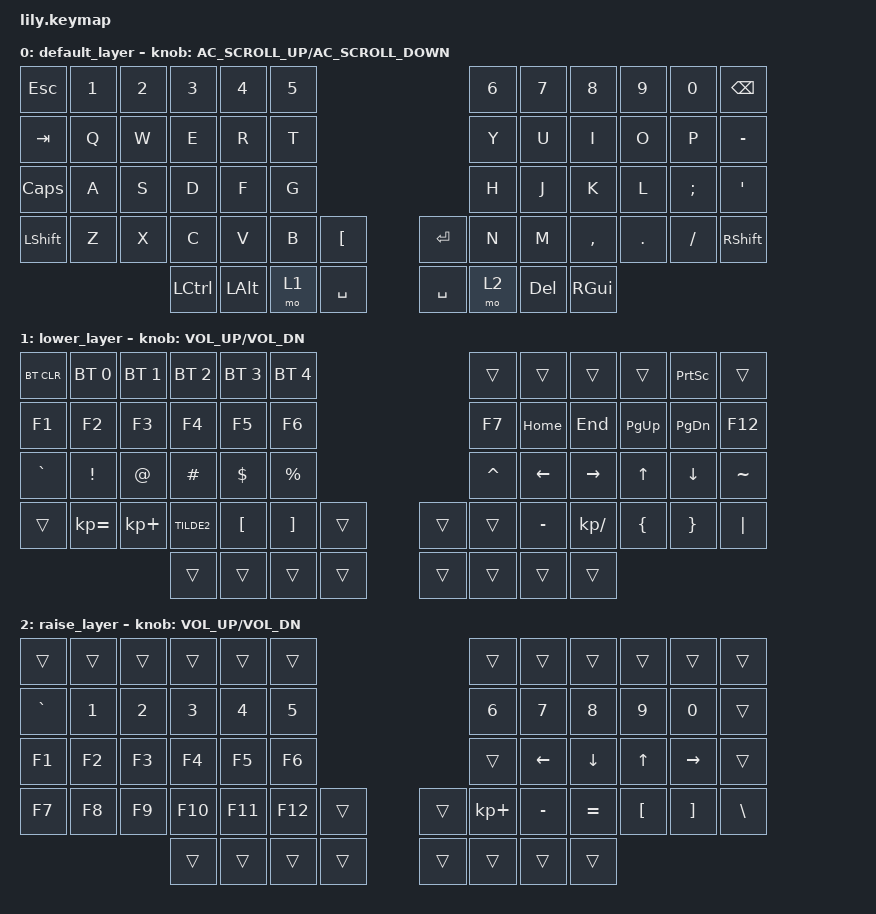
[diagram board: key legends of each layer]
/*
 * Copyright (c) 2020 The ZMK Contributors
 *
 * SPDX-License-Identifier: MIT
 */

#include <behaviors.dtsi>
#include <dt-bindings/zmk/keys.h>
#include <dt-bindings/zmk/bt.h>

/ {
    keymap {
        compatible = "zmk,keymap";

        default_layer {
            // ------------------------------------------------------------------------------------------------------------
            // |  ESC  |  1  |  2  |  3   |  4   |  5   |                   |  6   |  7    |  8    |  9   |   0   |   `   |
            // |  TAB  |  Q  |  W  |  E   |  R   |  T   |                   |  Y   |  U    |  I    |  O   |   P   |   -   |
            // |  CTRL |  A  |  S  |  D   |  F   |  G   |                   |  H   |  J    |  K    |  L   |   ;   |   '   |
            // | SHIFT |  Z  |  X  |  C   |  V   |  B   |   "["  |  |  "]"  |  N   |  M    |  ,    |  .   |   /   | SHIFT |
            //                     | ALT  | GUI  | LOWER|  SPACE |  | ENTER | RAISE| BSPC  | GUI   |

            bindings = <
      &kp ESC  &kp N1  &kp N2            &kp N3        &kp N4  &kp N5                        &kp N6      &kp N7     &kp N8   &kp N9    &kp N0  &kp BACKSPACE
      &kp TAB   &kp Q   &kp W             &kp E         &kp R   &kp T                         &kp Y       &kp U      &kp I    &kp O     &kp P      &kp MINUS
 &kp CAPSLOCK   &kp A   &kp S             &kp D         &kp F   &kp G                         &kp H       &kp J      &kp K    &kp L  &kp SEMI        &kp SQT
    &kp LSHFT   &kp Z   &kp X             &kp C         &kp V   &kp B   &kp LBKT  &kp ENTER   &kp N       &kp M  &kp COMMA  &kp DOT  &kp FSLH      &kp RSHFT
                               &kp LEFT_CONTROL  &kp LEFT_ALT   &mo 1  &kp SPACE  &kp SPACE   &mo 2  &kp DELETE   &kp RGUI
            >;

            sensor-bindings = <&inc_dec_kp C_AC_SCROLL_UP C_AC_SCROLL_DOWN>;
        };

        lower_layer {
            // ------------------------------------------------------------------------------------------------------------
            // | BTCLR | BT1 | BT2 |  BT3 |  BT4 |  BT5 |                   |      |       |       |      |       |       |
            // |  F1   |  F2 |  F3 |  F4  |  F5  |  F6  |                   |  F7  |  F8   |  F9   |  F10 |  F11  |  F12  |
            // |   `   |  !  |  @  |  #   |  $   |  %   |                   |  ^   |  &    |  *    |  (   |   )   |   ~   |
            // |       |     |     |      |      |      |        |  |       |      |  _    |  +    |  {   |   }   |  "|"  |
            //                     |      |      |      |        |  |       |      |       |       |

            bindings = <
 &bt BT_CLR  &bt BT_SEL 0  &bt BT_SEL 1  &bt BT_SEL 2      &bt BT_SEL 3       &bt BT_SEL 4                     &trans          &trans           &trans        &trans  &kp PRINTSCREEN     &trans
     &kp F1        &kp F2        &kp F3        &kp F4            &kp F5             &kp F6                     &kp F7        &kp HOME          &kp END   &kp PAGE_UP    &kp PAGE_DOWN    &kp F12
  &kp GRAVE      &kp EXCL        &kp AT      &kp HASH        &kp DOLLAR          &kp PRCNT                  &kp CARET  &kp LEFT_ARROW  &kp RIGHT_ARROW  &kp UP_ARROW   &kp DOWN_ARROW  &kp TILDE
     &trans  &kp KP_EQUAL   &kp KP_PLUS    &kp TILDE2  &kp LEFT_BRACKET  &kp RIGHT_BRACKET  &trans  &trans     &trans       &kp MINUS     &kp KP_SLASH      &kp LBRC         &kp RBRC   &kp PIPE
                                               &trans            &trans             &trans  &trans  &trans     &trans          &trans           &trans
            >;

            sensor-bindings = <&inc_dec_kp C_VOL_UP C_VOL_DN>;
        };

        raise_layer {
            // ------------------------------------------------------------------------------------------------------------
            // |       |     |     |      |      |      |                   |      |       |       |      |       |       |
            // |   `   |  1  |  2  |  3   |  4   |  5   |                   |  6   |   7   |   8   |  9   |   0   |       |
            // |   F1  |  F2 |  F3 |  F4  |  F5  |  F6  |                   |      |   <-  |   v   |  ^   |  ->   |       |
            // |   F7  |  F8 |  F9 |  F10 |  F11 |  F12 |        |  |       |  +   |   -   |   =   |  [   |   ]   |   \   |
            //                     |      |      |      |        |  |       |      |       |       |

            bindings = <
    &trans  &trans  &trans   &trans   &trans   &trans                       &trans     &trans     &trans    &trans     &trans    &trans
 &kp GRAVE  &kp N1  &kp N2   &kp N3   &kp N4   &kp N5                       &kp N6     &kp N7     &kp N8    &kp N9     &kp N0    &trans
    &kp F1  &kp F2  &kp F3   &kp F4   &kp F5   &kp F6                       &trans   &kp LEFT   &kp DOWN    &kp UP  &kp RIGHT    &trans
    &kp F7  &kp F8  &kp F9  &kp F10  &kp F11  &kp F12  &trans  &trans  &kp KP_PLUS  &kp MINUS  &kp EQUAL  &kp LBKT   &kp RBKT  &kp BSLH
                             &trans   &trans   &trans  &trans  &trans       &trans     &trans     &trans
            >;

            sensor-bindings = <&inc_dec_kp C_VOL_UP C_VOL_DN>;
        };
    };
};
